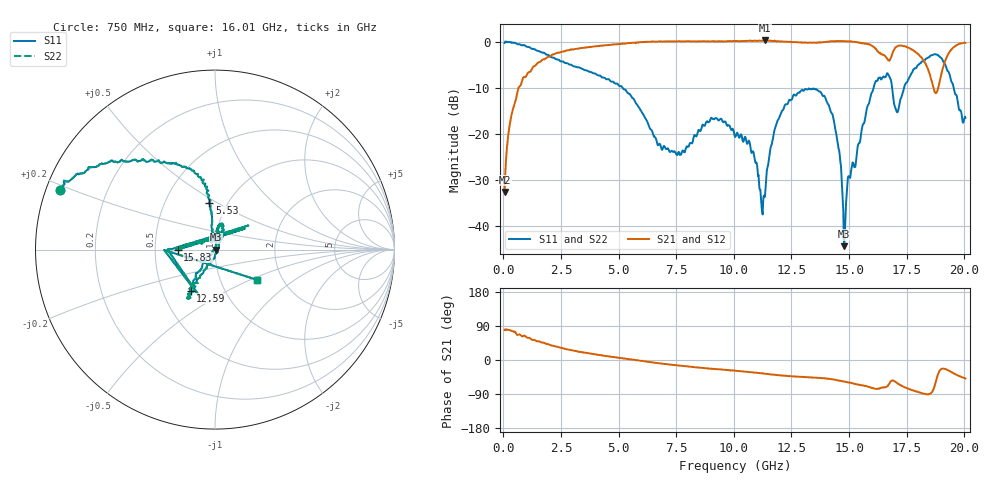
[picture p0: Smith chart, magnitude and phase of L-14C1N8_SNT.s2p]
#	mhz	s	ma	r	50
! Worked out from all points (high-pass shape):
!   1001 points, 50 MHz to 20.05 GHz, reference 50 ohm
!   highest |S21| = 0.30 dB at 11.35 GHz (marker M1); lowest = -32.6 dB at 50 MHz (marker M2)
!   |S21| within 3 dB of the highest: 2.182 GHz to 16.43 GHz (14.25 GHz wide, 153 % of centre); 16.87 GHz to 18.01 GHz (1.138 GHz wide, 6.53 % of centre) (the widest 2 of 3)
!   lowest |S11| = -44.3 dB at 14.79 GHz (marker M3), VSWR 1.01, Z = 50.6 + j0.0164 ohm
!   |S11| at or under -10 dB: 5.179 GHz to 16.06 GHz (10.88 GHz wide, 102 % of centre); 16.87 GHz to 17.39 GHz (516.1 MHz wide, 3.01 % of centre); 19.54 GHz to end of sweep
!   |S22| runs from -44.3 to 0.1 dB; largest |S21 - S12| = 0
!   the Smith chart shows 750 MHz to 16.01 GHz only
!   S11 on the Smith chart (normalised r, x): 750 MHz: 0.04, +0.19; 5.53 GHz: 0.82, +0.46; 12.59 GHz: 0.69, -0.34; 15.83 GHz: 0.66, -0.00; 16.01 GHz: 1.49, -0.55
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50  0.9732 178.0  0.02354 79.5  0.02354 79.5  0.9732 178.0
290  0.9907 172.0  0.1341 78.2  0.1341 78.2  0.9907 172.0
750  0.925 159.0  0.3396 65.0  0.3396 65.0  0.925 159.0
3390  0.5126 113.0  0.8582 20.7  0.8582 20.7  0.5126 113.0
5530  0.261 97.0  0.9732 1.5  0.9732 1.5  0.261 97.0
6730  0.07638 91.1  1.009 -8.6  1.009 -8.6  0.07638 91.1
9110  0.1453 75.7  1.015 -23.2  1.015 -23.2  0.1453 75.7
10050  0.09302 81.5  1.024 -28.2  1.024 -28.2  0.09302 81.5
11350  0.02094 -66.9  1.036 -36.2  1.036 -36.2  0.02094 -66.9
11830  0.1239 -116.4  1.016 -39.5  1.016 -39.5  0.1239 -116.4
12590  0.266 -120.7  0.9959 -43.3  0.9959 -43.3  0.266 -120.7
13390  0.3078 -119.7  0.9794 -46.2  0.9794 -46.2  0.3078 -119.7
14310  0.1524 -126.5  1.017 -51.3  1.017 -51.3  0.1524 -126.5
14790  0.0061 1.5  1.015 -56.8  1.015 -56.8  0.0061 1.5
15830  0.2074 -179.9  0.949 -70.6  0.949 -70.6  0.2074 -179.9
16010  0.2874 -35.8  0.9021 -74.0  0.9021 -74.0  0.2874 -35.8
16730  0.4291 148.3  0.627 -63.8  0.627 -63.8  0.4291 148.3
17090  0.172 174.6  0.8932 -61.1  0.8932 -61.1  0.172 174.6
18230  0.6185 -172.3  0.6345 -88.6  0.6345 -88.6  0.6185 -172.3
18830  0.7227 137.1  0.2927 -43.7  0.2927 -43.7  0.7227 137.1
19390  0.4173 96.4  0.7941 -30.0  0.7941 -30.0  0.4173 96.4
20050  0.1503 133.0  0.9754 -48.8  0.9754 -48.8  0.1503 133.0
